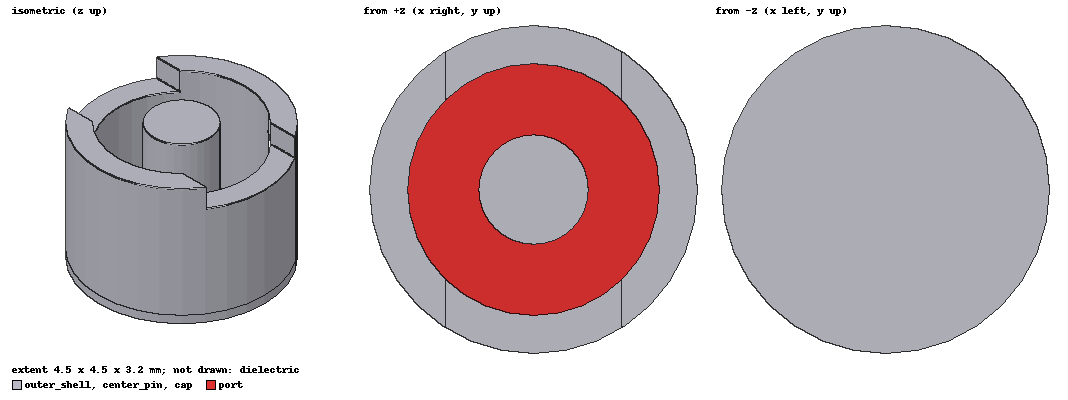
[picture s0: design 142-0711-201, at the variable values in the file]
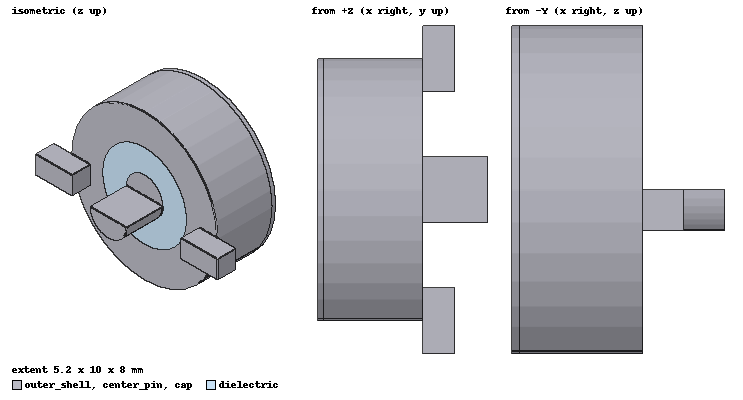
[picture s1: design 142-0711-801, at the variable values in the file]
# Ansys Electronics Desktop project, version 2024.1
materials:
  air: permittivity=1.0006 permeability=1.0000004
  copper: permeability=0.999991 conductivity=58000000
  FR4: permittivity=4.35 dielectric_loss_tangent=0.02
  FR4_epoxy: permittivity=4.4 dielectric_loss_tangent=0.02
  pec: conductivity=1e+30
  ro4003: permittivity=3.38 permeability=1 dielectric_loss_tangent=0.0027
  ro4450f: permittivity=3.52 dielectric_loss_tangent=0.002
  vacuum: permittivity=1

design 142-0711-201 (HFSS, HFSS Terminal Network, model units mm)
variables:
  N = 32
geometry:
  center_pin [pec] = cylinder(axis=Z, base_centre=(0mm, 0mm, 0mm), radius=1.5mm/2, height=3mm, segments=N)
  outer_shell [pec] = cylinder(axis=Z, base_centre=(0mm, 0mm, 0mm), radius=4.5mm/2, height=3mm, segments=N)
  outer_shell_tool = cylinder(axis=Z, base_centre=(0mm, 0mm, 0mm), radius=1.5mm/2*2.303, height=3mm, segments=N)
  dielectric [vacuum] = cylinder(axis=Z, base_centre=(0mm, 0mm, 0mm), radius=1.5mm/2*2.303, height=3mm, segments=N)
  outer_shell.subtract(outer_shell_tool)
  port = circle(normal=Z, centre=(0mm, 0mm, 3mm), radius=4.5mm/2, segments=N)
  Rectangle2 = rectangle(corner=(-2.41mm/2, -5mm, 0mm), x_size=2.41mm, y_size=10mm)
  Rectangle2.sweep_along_vector((0mm, 0mm, 0.5mm))
  outer_shell.subtract(Rectangle2)
  cap [pec] = circle(normal=Z, centre=(0mm, 0mm, 3mm), radius=4.5mm/2, segments=N)
  cap.sweep_along_vector((0mm, 0mm, 0.2mm))
  [center_pin, outer_shell, dielectric, port, cap].mirror(point=(0mm, 0mm, 0mm), normal=(0mm, 0mm, 1mm))
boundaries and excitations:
  center_pin_T1: Terminal port=1 Faces=center_pin.face(at (0, 0, -3)) TerminalResistance=50ohm
  1: Wave Port Faces=port.face(at (0, 0, -3)) WavePortType=Terminal NumModes=1
  reference conductors: outer_shell
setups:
  Setup1: HfssDriven Frequency=2.42GHz MaxDeltaS=0.02 MaximumPasses=6 MinimumPasses=1 MinimumConvergedPasses=1 PercentRefinement=30 BasisOrder=1 PortAccuracy=0.5 DrivenSolverType="Direct Solver"
    sweep Sweep: 1.21GHz to 3.63GHz, 401 points; disabled Type=Interpolating InterpTolerance=0.5 InterpMaxSolns=250 InterpUseS=false
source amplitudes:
  1:1: 1V 0deg

design 142-0711-801 (HFSS, HFSS Terminal Network, model units mm)
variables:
  N = 32
  d = 2mm
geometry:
  center_pin [pec] = cylinder(axis=Z, base_centre=(0mm, 0mm, -2mm), radius=d/2, height=5mm, segments=N)
  outer_shell [pec] = cylinder(axis=Z, base_centre=(0mm, 0mm, 0mm), radius=8mm/2, height=3mm, segments=N)
  outer_shell_tool = cylinder(axis=Z, base_centre=(0mm, 0mm, -2mm), radius=d/2*2.303, height=5mm, segments=N)
  dielectric [vacuum] = cylinder(axis=Z, base_centre=(0mm, 0mm, 0mm), radius=d/2*2.303, height=3mm, segments=N)
  outer_shell.subtract(outer_shell_tool)
  port = circle(normal=Z, centre=(0mm, 0mm, 3mm), radius=8mm/2, segments=N)
  cap [pec] = circle(normal=Z, centre=(0mm, 0mm, 3mm), radius=8mm/2, segments=N)
  cap.sweep_along_vector((0mm, 0mm, 0.2mm))
  tool = rectangle(corner=(0mm, -5mm, 0mm), x_size=5mm, y_size=10mm)
  tool.sweep_along_vector((0mm, 0mm, -3mm))
  center_pin.subtract(tool)
  [outer_shell, center_pin, cap, port, dielectric].rotate(axis=Y, angle=-90deg)
  Rectangle1 = rectangle(corner=(0mm, 3mm, 0mm), x_size=1mm, y_size=2mm)
  Rectangle1.sweep_along_vector((0mm, 0mm, -1mm))
  Rectangle1_1 = Rectangle1.duplicate_mirror(point=(0mm, 0mm, 0mm), normal=(0mm, 1mm, 0mm))
  outer_shell.unite(Rectangle1, Rectangle1_1)
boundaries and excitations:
  center_pin_T1: Terminal port=1 Faces=center_pin.face(at (-3, 0, 0)) TerminalResistance=50ohm
  1: Wave Port Faces=port.face(at (-3, 0, 0)) WavePortType=Terminal NumModes=1
  reference conductors: outer_shell
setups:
  Setup1: HfssDriven Frequency=2.42GHz MaxDeltaS=0.02 MaximumPasses=6 MinimumPasses=1 MinimumConvergedPasses=1 PercentRefinement=30 BasisOrder=1 PortAccuracy=0.5 DrivenSolverType="Direct Solver"
    sweep Sweep: 1.21GHz to 3.63GHz, 401 points; disabled Type=Interpolating InterpTolerance=0.5 InterpMaxSolns=250 InterpUseS=false
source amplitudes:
  1:1: 1 0deg

design res0402 (HFSS 3D Layout)
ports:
  Port1, Port2: Properties{Reference=gnd Impedance=50ohm Magnitude=1V Phase=0deg Renormalize_Impedence="50ohm + 0i ohm" Renormalize Deembed_Distance=0mm Deembed Type="Single Strip Gap Source" HFSS_Type=Gap Orientation=Vertical Layer_Alignment=Lower Horizontal_Extent_Factor=5 Vertical_Extent_Factor=3 PEC_Launch_Width=0.06mm} Type=EdgePort
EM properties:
  rect_3 EM props: Type(Mesh, ThinFilm) Properties{Refined RefineFactor=1 Material=copper SheetImpedance=resistance Model_as_Sheet} Element=rect_3
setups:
  Setup1: SolveSetupType=HFSS PercentRefinementPerPass=15 MinNumberOfPasses=1 MinNumberOfConvergedPasses=1 Frequency=10GHz MeshSizeFactor=1.5 ViaNumSides=6 ViaMaterial=copper Style25DVia=Mesh
    sweep Sweep1: LINC 1GHz 3GHz 201; SAbsError=0.005 ZoPercentError=1 PassivityTolerance=0.0001 MaxSolutions=250 InterpUseSMatrix InterpUsePortImpedance InterpUseFullBasis MinSolvedFreq=0.01GHz AutoSMatOnlySolve MinFreqSMatrixOnlySolve=1MHz MagMinThreshold=0.01 InterpMinSolutions=0 FreqSweepType=kInterpolating

design splitter (HFSS 3D Layout)
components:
  U7 = res403()
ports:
  Port1, Port2, Port3: Properties{Reference=gnd Impedance=50ohm Magnitude=1V Phase=0deg Renormalize_Impedence="50ohm + 0i ohm" Renormalize Deembed_Distance=0mm Deembed Type="Single Strip Gap Source" HFSS_Type=Gap Orientation=Vertical Layer_Alignment=Lower Horizontal_Extent_Factor=5 Vertical_Extent_Factor=3 PEC_Launch_Width=0.12mm} Type=EdgePort
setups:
  Setup1: SolveSetupType=HFSS PercentRefinementPerPass=15 MinNumberOfPasses=1 MinNumberOfConvergedPasses=1 Frequency=10GHz MeshSizeFactor=1.5 ViaNumSides=6 ViaMaterial=copper Style25DVia=Mesh
    sweep Sweep1: LINC 1.5GHz 3.5GHz 201; SAbsError=0.005 ZoPercentError=1 PassivityTolerance=0.0001 MaxSolutions=250 InterpUseSMatrix InterpUsePortImpedance InterpUseFullBasis MinSolvedFreq=0.01GHz AutoSMatOnlySolve MinFreqSMatrixOnlySolve=1MHz MagMinThreshold=0.01 InterpMinSolutions=0 FreqSweepType=kInterpolating
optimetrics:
  len: Parametric Sim._Setups=[Setup1]
    sweep len: LIN 15mm 25mm 1mm
  w: Parametric Sim._Setups=[Setup1]
    sweep w: LIN 1.05mm 1.25mm 0.05mm
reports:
  S Parameter Plot 1: XAtYMin(dB(S(Port1,Port1))), XAtYMax(dB(S(Port2,Port1))), XAtYMax(dB(S(Port3,Port1))) vs len on Setup1 : Sweep1 [Freq=all]; markers MY1 at y=2.32e+09
  S Parameter Plot 2: dB(S(Port2,Port1)), dB(S(Port3,Port1)) vs Freq on Setup1 : Sweep1; markers MX1 at x=2.32e+09
  S Parameter Plot 3: dB(S(Port1,Port1)) vs Freq on Setup1 : Sweep1; markers MX1 at x=2.32e+09

design res403 (HFSS 3D Layout)
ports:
  Port1, Port2: Properties{Reference=gnd Impedance=50ohm Magnitude=1V Phase=0deg Renormalize_Impedence="50ohm + 0i ohm" Renormalize Deembed_Distance=0mm Deembed Type="Single Strip Gap Source" HFSS_Type=Gap Orientation=Vertical Layer_Alignment=Lower Horizontal_Extent_Factor=5 Vertical_Extent_Factor=3 PEC_Launch_Width=0.06mm} Type=EdgePort
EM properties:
  rect_3 EM props: Type(Mesh, ThinFilm) Properties{Refined RefineFactor=1 Material=copper SheetImpedance=resistance Model_as_Sheet} Element=rect_3
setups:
  Setup1: SolveSetupType=HFSS PercentRefinementPerPass=15 MinNumberOfPasses=1 MinNumberOfConvergedPasses=1 Frequency=10GHz MeshSizeFactor=1.5 ViaNumSides=6 ViaMaterial=copper Style25DVia=Mesh
    sweep Sweep1: LINC 1GHz 3GHz 201; SAbsError=0.005 ZoPercentError=1 PassivityTolerance=0.0001 MaxSolutions=250 InterpUseSMatrix InterpUsePortImpedance InterpUseFullBasis MinSolvedFreq=0.01GHz AutoSMatOnlySolve MinFreqSMatrixOnlySolve=1MHz MagMinThreshold=0.01 InterpMinSolutions=0 FreqSweepType=kInterpolating

design patch (HFSS 3D Layout)
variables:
  slot_length1 = 3mm
  slot_width1 = 5mm
  microstrip_len = 20mm
  microstrip_stub = 8.5mm
  a = 7mm
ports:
  Port1, Port2: Properties{Reference=gnd Impedance=50ohm Magnitude=1V Phase=0deg Renormalize_Impedence="50ohm + 0i ohm" Renormalize Deembed_Distance=0mm Deembed Type="Single Strip Gap Source" HFSS_Type=Gap Orientation=Vertical Layer_Alignment=Lower Horizontal_Extent_Factor=5 Vertical_Extent_Factor=3 PEC_Launch_Width=0.11mm} Type=EdgePort
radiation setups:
  Infinite Sphere 1: Type=InfiniteSphereFarField StartTheta=0deg StartPhi=-180deg StopTheta=180deg StopPhi=180deg StepTheta=2deg StepPhi=2deg
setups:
  Setup1: SolveSetupType=HFSS PercentRefinementPerPass=15 MinNumberOfPasses=1 MinNumberOfConvergedPasses=2 Frequency=10GHz MeshSizeFactor=1.5 ViaNumSides=6 ViaMaterial=copper Style25DVia=Mesh
    sweep Sweep1: LINC 2GHz 3.2GHz 501; SAbsError=0.005 ZoPercentError=1 PassivityTolerance=0.0001 MaxSolutions=250 InterpUseSMatrix InterpUsePortImpedance InterpUseFullBasis MinSolvedFreq=0.01GHz AutoSMatOnlySolve MinFreqSMatrixOnlySolve=1MHz MagMinThreshold=0.01 InterpMinSolutions=0 FreqSweepType=kInterpolating
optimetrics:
  patch_width: Parametric Sim._Setups=[Setup1]
    sweep patch_width: LIN 29mm 35mm 1mm LIN 31mm 32mm 0.1mm
  microstrip_stub: Parametric Sim._Setups=[Setup1]
    sweep microstrip_stub: LIN 7.5mm 9.5mm 0.1mm
  slot_length: Parametric Sim._Setups=[Setup1]
    sweep slot_length: LIN 10mm 12mm 0.1mm
  offset: Parametric Sim._Setups=[Setup1]
    sweep offset: LIN 12mm 14mm 0.2mm LIN 12.3mm 12.5mm 0.05mm
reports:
  S Parameter Plot 1: YAtXVal(dB(S(Port1,Port1)), 2.32GHz) vs microstrip_stub on Setup1 : Sweep1 [Freq=all]; markers MX1 at x=0.031397649, MX2 at x=0.012297747, MX3 at x=0.011097097, MY1 at y=2.05e+09
  S Parameter Plot 2: dB(S(Port1,Port1)), dB(S(Port2,Port1)) vs Freq on Setup1 : Sweep1; markers MX1 at x=2.3203051e+09
  Port Zo Table 1: Zo(Port1,Port1) vs Freq on Setup1 : Last Adaptive
  S Parameter Plot 3: dB(S(Port1,Port1)) vs Freq on Setup1 : Sweep1; markers MX1 at x=2.4244186e+09
  Gain Plot 1: dB(GainLHCP), dB(GainRHCP) vs Theta on Setup1 : Last Adaptive [Phi=-180deg,0deg Freq=2.1GHz]
  Antenna Params Table 1: RadiationEfficiency vs Freq on Setup1 : Last Adaptive

design patch_and_splitter (HFSS 3D Layout)
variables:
  b = 4.145mm
  len = 18.7mm
  patch_width = 31.4mm
  slot_length = 11.5mm
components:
  U20 = splitter1(port_len=1mm w=w len=len k=-0.0068)
  U23 = patch1(w=w patch_width=patch_width slot_length=slot_length offset=13mm)
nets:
  net_1: U20.1, U23.0
  net_2: U20.Port1, U23.1
  Port1: U20.0
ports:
  Port1: Properties{Reference=gnd Impedance=50ohm Magnitude=1V Phase=0deg Renormalize_Impedence="50ohm + 0i ohm" Deembed_Distance=6mm Deembed Type="Single Strip Gap Source" HFSS_Type=Wave Orientation=Vertical Layer_Alignment=Upper Horizontal_Extent_Factor=10 Vertical_Extent_Factor=5 PEC_Launch_Width=0.2mm} Type=EdgePort Pin=Port1
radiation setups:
  Infinite Sphere 1: Type=InfiniteSphereFarField StartTheta=0deg StartPhi=-180deg StopTheta=180deg StopPhi=180deg StepTheta=2deg StepPhi=2deg
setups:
  Setup1: SolveSetupType=HFSS PercentRefinementPerPass=30 MinNumberOfPasses=1 MinNumberOfConvergedPasses=2 Frequency=10GHz MeshSizeFactor=1.5 ViaNumSides=6 ViaMaterial=copper Style25DVia=Mesh
    sweep Sweep1: LINC 2GHz 3GHz 51; GenerateSurfaceCurrent SAbsError=0.005 ZoPercentError=1 PassivityTolerance=0.0001 MaxSolutions=250 InterpUseSMatrix InterpUsePortImpedance InterpUseFullBasis MinSolvedFreq=0.01GHz AutoSMatOnlySolve MinFreqSMatrixOnlySolve=1MHz MagMinThreshold=0.01 InterpMinSolutions=0 FreqSweepType=kDiscrete
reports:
  S Parameter Plot 1: dB(S(Port1,Port1)) vs Freq on Setup1 : Sweep1; markers MX1 at x=2.32e+09
  Antenna Params Table 1: RadiationEfficiency vs Freq on Setup1 : Last Adaptive
  Antenna Params Plot 1: RadiationEfficiency vs Freq on Setup1 : Sweep1; markers MX1 at x=2.32e+09
  Gain Plot 1: dB(GainLHCP), dB(GainRHCP) vs Theta on Setup1 : Last Adaptive [Phi=-180deg,0deg Freq=all]
  Port Zo Plot 1: re(Zo(Port1,Port1)) vs Freq on Setup1 : Sweep1

design splitter1 (HFSS 3D Layout)
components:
  U7 = res404(resistance=100ohm)
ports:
  Port1, Port2, Port3: Properties{Reference=gnd Impedance=50ohm Magnitude=1V Phase=0deg Renormalize_Impedence="50ohm + 0i ohm" Renormalize Deembed_Distance=0mm Deembed Type="Single Strip Gap Source" HFSS_Type=Gap Orientation=Vertical Layer_Alignment=Lower Horizontal_Extent_Factor=5 Vertical_Extent_Factor=3 PEC_Launch_Width=0.12mm} Type=EdgePort
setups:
  Setup1: SolveSetupType=HFSS PercentRefinementPerPass=15 MinNumberOfPasses=1 MinNumberOfConvergedPasses=1 Frequency=10GHz MeshSizeFactor=1.5 ViaNumSides=6 ViaMaterial=copper Style25DVia=Mesh
    sweep Sweep1: LINC 1GHz 3GHz 201; SAbsError=0.005 ZoPercentError=1 PassivityTolerance=0.0001 MaxSolutions=250 InterpUseSMatrix InterpUsePortImpedance InterpUseFullBasis MinSolvedFreq=0.01GHz AutoSMatOnlySolve MinFreqSMatrixOnlySolve=1MHz MagMinThreshold=0.01 InterpMinSolutions=0 FreqSweepType=kInterpolating
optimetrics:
  ParametricSetup1: Parametric Sim._Setups=[Setup1]
    sweep len: LIN 15mm 25mm 1mm

design res404 (HFSS 3D Layout)
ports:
  Port1, Port2: Properties{Impedance=50ohm Magnitude=1V Phase=0deg Renormalize_Impedence="50ohm + 0i ohm" Renormalize Deembed_Distance=0mm Deembed Type="Single Strip Gap Source" HFSS_Type=Gap Orientation=Vertical Layer_Alignment=Lower Horizontal_Extent_Factor=5 Vertical_Extent_Factor=3 PEC_Launch_Width=0.06mm} Type=Invalid
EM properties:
  rect_3 EM props: Type(Mesh, ThinFilm) Properties{Refined RefineFactor=1 Material=copper SheetImpedance=resistance Model_as_Sheet} Element=rect_3
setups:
  Setup1: SolveSetupType=HFSS PercentRefinementPerPass=15 MinNumberOfPasses=1 MinNumberOfConvergedPasses=1 Frequency=10GHz MeshSizeFactor=1.5 ViaNumSides=6 ViaMaterial=copper Style25DVia=Mesh
    sweep Sweep1: LINC 1GHz 3GHz 201; SAbsError=0.005 ZoPercentError=1 PassivityTolerance=0.0001 MaxSolutions=250 InterpUseSMatrix InterpUsePortImpedance InterpUseFullBasis MinSolvedFreq=0.01GHz AutoSMatOnlySolve MinFreqSMatrixOnlySolve=1MHz MagMinThreshold=0.01 InterpMinSolutions=0 FreqSweepType=kInterpolating

design patch1 (HFSS 3D Layout)
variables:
  slot_length1 = 3mm
  slot_width1 = 5mm
  microstrip_len = 20mm
  microstrip_stub = 8.5mm
  a = 7mm
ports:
  Port1, Port2: Properties{Reference=gnd Impedance=50ohm Magnitude=1V Phase=0deg Renormalize_Impedence="50ohm + 0i ohm" Renormalize Deembed_Distance=0mm Deembed Type="Single Strip Gap Source" HFSS_Type=Gap Orientation=Vertical Layer_Alignment=Lower Horizontal_Extent_Factor=5 Vertical_Extent_Factor=3 PEC_Launch_Width=0.11mm} Type=EdgePort
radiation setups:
  Infinite Sphere 1: Type=InfiniteSphereFarField StartTheta=0deg StartPhi=-180deg StopTheta=180deg StopPhi=180deg StepTheta=2deg StepPhi=2deg
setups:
  Setup1: SolveSetupType=HFSS PercentRefinementPerPass=15 MinNumberOfPasses=1 MinNumberOfConvergedPasses=2 Frequency=10GHz MeshSizeFactor=1.5 ViaNumSides=6 ViaMaterial=copper Style25DVia=Mesh
    sweep Sweep1: LINC 1.8GHz 2.4GHz 501; SAbsError=0.005 ZoPercentError=1 PassivityTolerance=0.0001 MaxSolutions=250 InterpUseSMatrix InterpUsePortImpedance InterpUseFullBasis MinSolvedFreq=0.01GHz AutoSMatOnlySolve MinFreqSMatrixOnlySolve=1MHz MagMinThreshold=0.01 InterpMinSolutions=0 FreqSweepType=kInterpolating
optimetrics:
  ParametricSetup1: Parametric Sim._Setups=[Setup1]
    sweep microstrip_stub: LIN 5mm 25mm 1mm

design delay_and_splitter (HFSS 3D Layout)
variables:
  b = 4.145mm
  len = 18.7mm
  k = -0.0068
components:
  U20 = splitter2(port_len=1mm w=w len=len k=k)
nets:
  net_1: U20.1
  net_2: U20.Port1
  Port1: U20.0
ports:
  Port1: Properties{Reference=gnd Impedance=50ohm Magnitude=1V Phase=0deg Renormalize_Impedence="50ohm + 0i ohm" Deembed_Distance=0mm Deembed Type="Single Strip Gap Source" HFSS_Type=Wave Orientation=Vertical Layer_Alignment=Upper Horizontal_Extent_Factor=10 Vertical_Extent_Factor=5 PEC_Launch_Width=0.2mm} Type=EdgePort Pin=Port1
  Port2, Port3: Properties{Reference=gnd Impedance=50ohm Magnitude=1V Phase=0deg Renormalize_Impedence="50ohm + 0i ohm" Deembed_Distance=0mm Deembed Type="Single Strip Gap Source" HFSS_Type=Wave Orientation=Vertical Layer_Alignment=Lower Horizontal_Extent_Factor=10 Vertical_Extent_Factor=5 PEC_Launch_Width=0.2mm} Type=EdgePort
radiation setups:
  Infinite Sphere 1: Type=InfiniteSphereFarField StartTheta=0deg StartPhi=-180deg StopTheta=180deg StopPhi=180deg StepTheta=2deg StepPhi=2deg
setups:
  Setup1: SolveSetupType=HFSS PercentRefinementPerPass=30 MinNumberOfPasses=1 MinNumberOfConvergedPasses=2 Frequency=10GHz MeshSizeFactor=1.5 ViaNumSides=6 ViaMaterial=copper Style25DVia=Mesh
    sweep Sweep1: LINC 2GHz 3.5GHz 201; SAbsError=0.005 ZoPercentError=1 PassivityTolerance=0.0001 MaxSolutions=250 InterpUseSMatrix InterpUsePortImpedance InterpUseFullBasis MinSolvedFreq=0.01GHz AutoSMatOnlySolve MinFreqSMatrixOnlySolve=1MHz MagMinThreshold=0.01 InterpMinSolutions=0 FreqSweepType=kInterpolating
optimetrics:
  b: Parametric Sim._Setups=[Setup1]
    sweep b: LIN 3.5mm 4.5mm 0.1mm
  k: Parametric Sim._Setups=[Setup1]
    sweep k: LIN -0.1 0 0.01
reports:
  S Parameter Plot 1: dB(S(Port2,Port1)), dB(S(Port3,Port1)) vs Freq on Setup1 : Sweep1; markers MX1 at x=2.32e+09
  S Parameter Plot 2: cang_deg(S(Port2,Port1)/S(Port3,Port1)) vs Freq on Setup1 : Sweep1; markers MX1 at x=2.32e+09
  S Parameter Plot 2_1: db(S(Port2,Port1)/S(Port3,Port1)) vs k on Setup1 : Last Adaptive [Freq=all]; markers MY1 at y=0
  S Parameter Plot 3: dB(S(Port1,Port1)) vs Freq on Setup1 : Sweep1; markers MX1 at x=2.32e+09
  S Parameter Plot 2_2: cang_deg(S(Port2,Port1)/S(Port3,Port1)) vs b on Setup1 : Last Adaptive [Freq=all]; markers MX1 at x=2.42e+09, MY1 at y=1.5708

design splitter2 (HFSS 3D Layout)
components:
  U7 = res405()
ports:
  Port1, Port2, Port3: Properties{Reference=gnd Impedance=50ohm Magnitude=1V Phase=0deg Renormalize_Impedence="50ohm + 0i ohm" Renormalize Deembed_Distance=0mm Deembed Type="Single Strip Gap Source" HFSS_Type=Gap Orientation=Vertical Layer_Alignment=Lower Horizontal_Extent_Factor=5 Vertical_Extent_Factor=3 PEC_Launch_Width=0.12mm} Type=EdgePort
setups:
  Setup1: SolveSetupType=HFSS PercentRefinementPerPass=15 MinNumberOfPasses=1 MinNumberOfConvergedPasses=1 Frequency=10GHz MeshSizeFactor=1.5 ViaNumSides=6 ViaMaterial=copper Style25DVia=Mesh
    sweep Sweep1: LINC 1GHz 3GHz 201; SAbsError=0.005 ZoPercentError=1 PassivityTolerance=0.0001 MaxSolutions=250 InterpUseSMatrix InterpUsePortImpedance InterpUseFullBasis MinSolvedFreq=0.01GHz AutoSMatOnlySolve MinFreqSMatrixOnlySolve=1MHz MagMinThreshold=0.01 InterpMinSolutions=0 FreqSweepType=kInterpolating
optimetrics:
  ParametricSetup1: Parametric Sim._Setups=[Setup1]
    sweep len: LIN 15mm 25mm 1mm

design res405 (HFSS 3D Layout)
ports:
  Port1: Properties{Impedance=50ohm Magnitude=1V Phase=0deg Renormalize_Impedence="50ohm + 0i ohm" Renormalize Deembed_Distance=0mm Deembed Type="Single Strip Gap Source" HFSS_Type=Gap Orientation=Vertical Layer_Alignment=Lower Horizontal_Extent_Factor=5 Vertical_Extent_Factor=3 PEC_Launch_Width=0.06mm} Type=Invalid Pin=Port1
  Port2: Properties{Impedance=50ohm Magnitude=1V Phase=0deg Renormalize_Impedence="50ohm + 0i ohm" Renormalize Deembed_Distance=0mm Deembed Type="Single Strip Gap Source" HFSS_Type=Gap Orientation=Vertical Layer_Alignment=Lower Horizontal_Extent_Factor=5 Vertical_Extent_Factor=3 PEC_Launch_Width=0.06mm} Type=EdgePort Pin=Port2
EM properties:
  rect_3 EM props: Type(Mesh, ThinFilm) Properties{Refined RefineFactor=1 Material=copper SheetImpedance=resistance Model_as_Sheet} Element=rect_3
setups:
  Setup1: SolveSetupType=HFSS PercentRefinementPerPass=15 MinNumberOfPasses=1 MinNumberOfConvergedPasses=1 Frequency=10GHz MeshSizeFactor=1.5 ViaNumSides=6 ViaMaterial=copper Style25DVia=Mesh
    sweep Sweep1: LINC 1GHz 3GHz 201; SAbsError=0.005 ZoPercentError=1 PassivityTolerance=0.0001 MaxSolutions=250 InterpUseSMatrix InterpUsePortImpedance InterpUseFullBasis MinSolvedFreq=0.01GHz AutoSMatOnlySolve MinFreqSMatrixOnlySolve=1MHz MagMinThreshold=0.01 InterpMinSolutions=0 FreqSweepType=kInterpolating

design patch_and_splitter_sma (HFSS 3D Layout)
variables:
  b = 4.145mm
  len = 18.7mm
  patch_width = 31.4mm
  slot_length = 11.5mm
  delta = 0mm
  ant_width = 50mm
  a = 10mm
  ant_height = 50mm
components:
  U20 = splitter4(port_len=1mm w=w len=len k=-0.0068)
  U23 = patch3(w=w patch_width=patch_width slot_length=slot_length offset=13mm)
  S81 = 142-0711-204()
  U82 = 142-0711-201_fp2()
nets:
  net_1: U20.1, U23.0
  net_2: U20.Port1, U23.1
  Port1: U20.0
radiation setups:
  Infinite Sphere 1: Type=InfiniteSphereFarField StartTheta=0deg StartPhi=-180deg StopTheta=180deg StopPhi=180deg StepTheta=2deg StepPhi=2deg
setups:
  Setup1: SolveSetupType=HFSS PercentRefinementPerPass=30 MinNumberOfPasses=1 MinNumberOfConvergedPasses=2 Frequency=10GHz MeshSizeFactor=1.5 ViaNumSides=6 ViaMaterial=copper Style25DVia=Mesh
    sweep Sweep1: LINC 2GHz 3GHz 51; GenerateSurfaceCurrent SAbsError=0.005 ZoPercentError=1 PassivityTolerance=0.0001 MaxSolutions=250 InterpUseSMatrix InterpUsePortImpedance InterpUseFullBasis MinSolvedFreq=0.01GHz AutoSMatOnlySolve MinFreqSMatrixOnlySolve=1MHz MagMinThreshold=0.01 InterpMinSolutions=0 FreqSweepType=kDiscrete
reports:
  S Parameter Plot 1: dB(S(Port1,Port1)) vs Freq on Setup1 : Sweep1; markers MX1 at x=2.32e+09
  Antenna Params Table 1: RadiationEfficiency vs Freq on Setup1 : Last Adaptive
  Antenna Params Plot 1: RadiationEfficiency vs Freq on Setup1 : Sweep1; markers MX1 at x=2.32e+09
  Gain Plot 1: dB(GainLHCP), dB(GainRHCP) vs Theta on Setup1 : Last Adaptive [Phi=-180deg,0deg Freq=all]
  Port Zo Plot 1: re(Zo(Port1,Port1)) vs Freq on Setup1 : Sweep1

design splitter4 (HFSS 3D Layout)
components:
  U7 = res407(resistance=100ohm)
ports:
  Port1, Port2, Port3: Properties{Reference=gnd Impedance=50ohm Magnitude=1V Phase=0deg Renormalize_Impedence="50ohm + 0i ohm" Renormalize Deembed_Distance=0mm Deembed Type="Single Strip Gap Source" HFSS_Type=Gap Orientation=Vertical Layer_Alignment=Lower Horizontal_Extent_Factor=5 Vertical_Extent_Factor=3 PEC_Launch_Width=0.12mm} Type=EdgePort
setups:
  Setup1: SolveSetupType=HFSS PercentRefinementPerPass=15 MinNumberOfPasses=1 MinNumberOfConvergedPasses=1 Frequency=10GHz MeshSizeFactor=1.5 ViaNumSides=6 ViaMaterial=copper Style25DVia=Mesh
    sweep Sweep1: LINC 1GHz 3GHz 201; SAbsError=0.005 ZoPercentError=1 PassivityTolerance=0.0001 MaxSolutions=250 InterpUseSMatrix InterpUsePortImpedance InterpUseFullBasis MinSolvedFreq=0.01GHz AutoSMatOnlySolve MinFreqSMatrixOnlySolve=1MHz MagMinThreshold=0.01 InterpMinSolutions=0 FreqSweepType=kInterpolating
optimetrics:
  ParametricSetup1: Parametric Sim._Setups=[Setup1]
    sweep len: LIN 15mm 25mm 1mm

design res407 (HFSS 3D Layout)
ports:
  Port1: Properties{Impedance=50ohm Magnitude=1V Phase=0deg Renormalize_Impedence="50ohm + 0i ohm" Renormalize Deembed_Distance=0mm Deembed Type="Single Strip Gap Source" HFSS_Type=Gap Orientation=Vertical Layer_Alignment=Lower Horizontal_Extent_Factor=5 Vertical_Extent_Factor=3 PEC_Launch_Width=0.06mm} Type=Invalid Pin=Port1
  Port2: Properties{Impedance=50ohm Magnitude=1V Phase=0deg Renormalize_Impedence="50ohm + 0i ohm" Renormalize Deembed_Distance=0mm Deembed Type="Single Strip Gap Source" HFSS_Type=Gap Orientation=Vertical Layer_Alignment=Lower Horizontal_Extent_Factor=5 Vertical_Extent_Factor=3 PEC_Launch_Width=0.06mm} Type=EdgePort Pin=Port2
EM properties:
  rect_3 EM props: Type(Mesh, ThinFilm) Properties{Refined RefineFactor=1 Material=copper SheetImpedance=resistance Model_as_Sheet} Element=rect_3
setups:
  Setup1: SolveSetupType=HFSS PercentRefinementPerPass=15 MinNumberOfPasses=1 MinNumberOfConvergedPasses=1 Frequency=10GHz MeshSizeFactor=1.5 ViaNumSides=6 ViaMaterial=copper Style25DVia=Mesh
    sweep Sweep1: LINC 1GHz 3GHz 201; SAbsError=0.005 ZoPercentError=1 PassivityTolerance=0.0001 MaxSolutions=250 InterpUseSMatrix InterpUsePortImpedance InterpUseFullBasis MinSolvedFreq=0.01GHz AutoSMatOnlySolve MinFreqSMatrixOnlySolve=1MHz MagMinThreshold=0.01 InterpMinSolutions=0 FreqSweepType=kInterpolating

design patch3 (HFSS 3D Layout)
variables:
  slot_length1 = 3mm
  slot_width1 = 5mm
  microstrip_len = 20mm
  microstrip_stub = 8.5mm
  a = 7mm
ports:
  Port1, Port2: Properties{Reference=gnd Impedance=50ohm Magnitude=1V Phase=0deg Renormalize_Impedence="50ohm + 0i ohm" Renormalize Deembed_Distance=0mm Deembed Type="Single Strip Gap Source" HFSS_Type=Gap Orientation=Vertical Layer_Alignment=Lower Horizontal_Extent_Factor=5 Vertical_Extent_Factor=3 PEC_Launch_Width=0.11mm} Type=EdgePort
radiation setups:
  Infinite Sphere 1: Type=InfiniteSphereFarField StartTheta=0deg StartPhi=-180deg StopTheta=180deg StopPhi=180deg StepTheta=2deg StepPhi=2deg
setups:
  Setup1: SolveSetupType=HFSS PercentRefinementPerPass=15 MinNumberOfPasses=1 MinNumberOfConvergedPasses=2 Frequency=10GHz MeshSizeFactor=1.5 ViaNumSides=6 ViaMaterial=copper Style25DVia=Mesh
    sweep Sweep1: LINC 1.8GHz 2.4GHz 501; SAbsError=0.005 ZoPercentError=1 PassivityTolerance=0.0001 MaxSolutions=250 InterpUseSMatrix InterpUsePortImpedance InterpUseFullBasis MinSolvedFreq=0.01GHz AutoSMatOnlySolve MinFreqSMatrixOnlySolve=1MHz MagMinThreshold=0.01 InterpMinSolutions=0 FreqSweepType=kInterpolating
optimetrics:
  ParametricSetup1: Parametric Sim._Setups=[Setup1]
    sweep microstrip_stub: LIN 5mm 25mm 1mm
